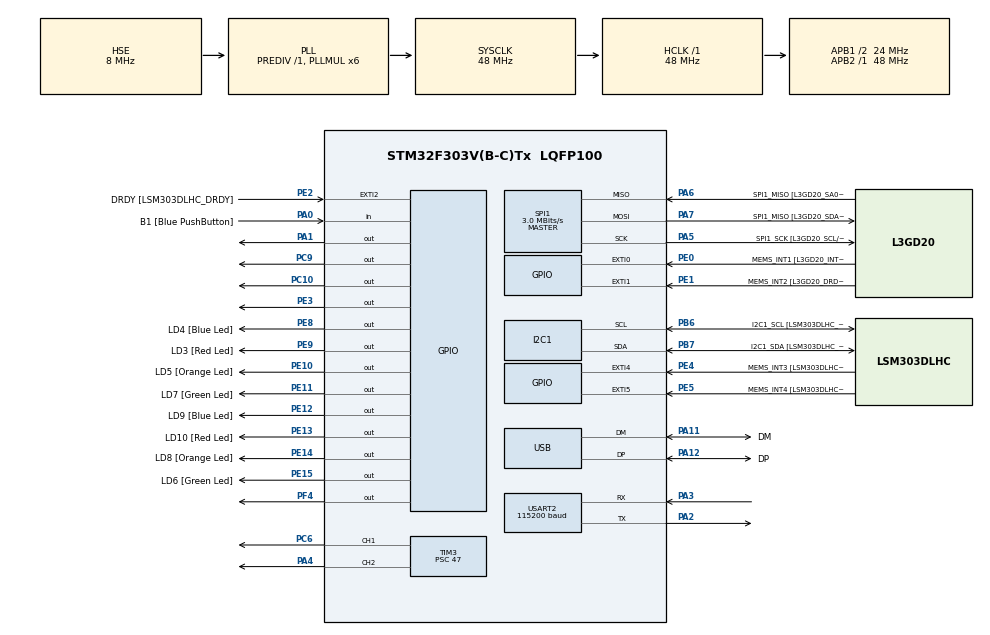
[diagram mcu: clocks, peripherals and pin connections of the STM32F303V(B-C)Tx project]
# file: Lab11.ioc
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I2C1.Timing=0x00201D2B
I2C1.Timing-I2C=0x2000090E
Mcu.Family=STM32F3
Mcu.Name=STM32F303V(B-C)Tx
Mcu.Package=LQFP100
NVIC.PriorityGroup=NVIC_PRIORITYGROUP_4
NVIC.TIM6_DAC_IRQn=true\:1\:0\:false\:false\:true\:true\:true\:true
NVIC.USART2_IRQn=true\:2\:0\:false\:false\:true\:true\:true\:true
PA0.GPIO_Label=B1 [Blue PushButton]
PA0.Signal=GPIO_Input
PA1.Signal=GPIO_Output
PA11.GPIO_Label=DM
PA11.Mode=Device
PA11.Signal=USB_DM
PA12.GPIO_Label=DP
PA12.Mode=Device
PA12.Signal=USB_DP
PA13.GPIO_Label=SWDIO
PA13.Mode=Serial_Wire
PA13.Signal=SYS_JTMS-SWDIO
PA14.GPIO_Label=SWCLK
PA14.Mode=Serial_Wire
PA14.Signal=SYS_JTCK-SWCLK
PA2.Mode=Asynchronous
PA2.Signal=USART2_TX
PA3.Mode=Asynchronous
PA3.Signal=USART2_RX
PA4.Signal=S_TIM3_CH2
PA5.GPIO_Label=SPI1_SCK [L3GD20_SCL/SPC]
PA5.Mode=Full_Duplex_Master
PA5.Signal=SPI1_SCK
PA6.GPIO_Label=SPI1_MISO [L3GD20_SA0/SDO]
PA6.Mode=Full_Duplex_Master
PA6.Signal=SPI1_MISO
PA7.GPIO_Label=SPI1_MISO [L3GD20_SDA/SDI/SDO]
PA7.Mode=Full_Duplex_Master
PA7.Signal=SPI1_MOSI
PB3.GPIO_Label=SWO
PB3.Signal=SYS_JTDO-TRACESWO
PB6.GPIO_Label=I2C1_SCL [LSM303DLHC_SCL]
PB6.GPIO_Pu=GPIO_PULLUP
PB6.Mode=I2C
PB6.Signal=I2C1_SCL
PB7.GPIO_Label=I2C1_SDA [LSM303DLHC_SDA]
PB7.GPIO_Pu=GPIO_PULLUP
PB7.Mode=I2C
PB7.Signal=I2C1_SDA
PC10.Signal=GPIO_Output
PC14-OSC32_IN.GPIO_Label=OSC32_IN
PC14-OSC32_IN.Signal=RCC_OSC32_IN
PC15-OSC32_OUT.GPIO_Label=OSC32_OUT
PC15-OSC32_OUT.Signal=RCC_OSC32_OUT
PC6.Signal=S_TIM3_CH1
PC9.Signal=GPIO_Output
PE0.GPIO_Label=MEMS_INT1 [L3GD20_INT1]
PE0.GPIO_ModeDefaultEXTI=GPIO_MODE_EVT_RISING
PE0.Signal=GPXTI0
PE1.GPIO_Label=MEMS_INT2 [L3GD20_DRDY/INT2]
PE1.GPIO_ModeDefaultEXTI=GPIO_MODE_EVT_RISING
PE1.Signal=GPXTI1
PE10.GPIO_Label=LD5 [Orange Led]
PE10.Signal=GPIO_Output
PE11.GPIO_Label=LD7 [Green Led]
PE11.Signal=GPIO_Output
PE12.GPIO_Label=LD9 [Blue Led]
PE12.Signal=GPIO_Output
PE13.GPIO_Label=LD10 [Red Led]
PE13.Signal=GPIO_Output
PE14.GPIO_Label=LD8 [Orange Led]
PE14.Signal=GPIO_Output
PE15.GPIO_Label=LD6 [Green Led]
PE15.Signal=GPIO_Output
PE2.GPIO_Label=DRDY [LSM303DLHC_DRDY]
PE2.GPIO_ModeDefaultEXTI=GPIO_MODE_EVT_RISING
PE2.Signal=GPXTI2
PE3.PinState=GPIO_PIN_SET
PE3.Signal=GPIO_Output
PE4.GPIO_Label=MEMS_INT3 [LSM303DLHC_INT1]
PE4.GPIO_ModeDefaultEXTI=GPIO_MODE_EVT_RISING
PE4.Signal=GPXTI4
PE5.GPIO_Label=MEMS_INT4 [LSM303DLHC_INT2]
PE5.GPIO_ModeDefaultEXTI=GPIO_MODE_EVT_RISING
PE5.Signal=GPXTI5
PE8.GPIO_Label=LD4 [Blue Led]
PE8.Signal=GPIO_Output
PE9.GPIO_Label=LD3 [Red Led]
PE9.Signal=GPIO_Output
PF0-OSC_IN.GPIO_Label=OSC_IN
PF0-OSC_IN.Mode=HSE-External-Clock-Source
PF0-OSC_IN.Signal=RCC_OSC_IN
PF1-OSC_OUT.GPIO_Label=OSC_OUT
PF1-OSC_OUT.Signal=RCC_OSC_OUT
PF4.Signal=GPIO_Output
ProjectManager.HeapSize=0x200
ProjectManager.StackSize=0x400
ProjectManager.TargetToolchain=CMake
RCC.AHBFreq_Value=48000000
RCC.APB1CLKDivider=RCC_HCLK_DIV2
RCC.APB1Freq_Value=24000000
RCC.APB1TimFreq_Value=48000000
RCC.APB2Freq_Value=48000000
RCC.APB2TimFreq_Value=48000000
RCC.CortexFreq_Value=48000000
RCC.HCLKFreq_Value=48000000
RCC.HSE_VALUE=8000000
RCC.HSI_VALUE=8000000
RCC.LSE_VALUE=32768
RCC.PLLMUL=RCC_PLL_MUL6
RCC.SYSCLKFreq_VALUE=48000000
RCC.SYSCLKSourceVirtual=RCC_SYSCLKSOURCE_PLLCLK
RCC.USBFreq_Value=48000000
SH.S_TIM3_CH1.0=TIM3_CH1,PWM Generation1 CH1
SH.S_TIM3_CH2.0=TIM3_CH2,PWM Generation2 CH2
SPI1.BaudRatePrescaler=SPI_BAUDRATEPRESCALER_16
SPI1.BaudRatePrescaler-Full_Duplex_Master=SPI_BAUDRATEPRESCALER_2
SPI1.CLKPhase=SPI_PHASE_2EDGE
SPI1.CLKPolarity=SPI_POLARITY_HIGH
SPI1.CalculateBaudRate=3.0 MBits/s
SPI1.CalculateBaudRate-Full_Duplex_Master=24.0 MBits/s
SPI1.DataSize=SPI_DATASIZE_8BIT
SPI1.Direction=SPI_DIRECTION_2LINES
SPI1.Mode=SPI_MODE_MASTER
SPI1.Mode-Full_Duplex_Master=SPI_MODE_MASTER
SPI1.VirtualType=VM_MASTER
TIM3.Channel-PWM\ Generation1\ CH1=TIM_CHANNEL_1
TIM3.Channel-PWM\ Generation2\ CH2=TIM_CHANNEL_2
TIM3.Period=999
TIM3.Prescaler=47
TIM6.Period=4999
TIM6.Prescaler=47
USART2.BaudRate=115200
USART2.VirtualMode-Asynchronous=VM_ASYNC
VP_TIM6_VS_ClockSourceINT.Mode=Enable_Timer
board=STM32F3DISCOVERY

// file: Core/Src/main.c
/* USER CODE BEGIN Header */
/**
  ******************************************************************************
  * @file           : main.c
  * @brief          : Main program body
  ******************************************************************************
  * @attention
  *
  * Copyright (c) 2026 STMicroelectronics.
  * All rights reserved.
  *
  * This software is licensed under terms that can be found in the LICENSE file
  * in the root directory of this software component.
  * If no LICENSE file comes with this software, it is provided AS-IS.
  *
  ******************************************************************************
  */
/* USER CODE END Header */
#include "main.h"

/* USER CODE BEGIN Includes */
#include <stdio.h>
#include "app_config.h"
#include "imu.h"
#include "motor.h"
#include "control.h"
#include "telemetry.h"

/* USER CODE END Includes */

I2C_HandleTypeDef hi2c1;

SPI_HandleTypeDef hspi1;

TIM_HandleTypeDef htim3;
TIM_HandleTypeDef htim6;

UART_HandleTypeDef huart2;

PCD_HandleTypeDef hpcd_USB_FS;

void SystemClock_Config(void);
static void MX_GPIO_Init(void);
static void MX_I2C1_Init(void);
static void MX_SPI1_Init(void);
static void MX_USB_PCD_Init(void);
static void MX_USART2_UART_Init(void);
static void MX_TIM3_Init(void);
static void MX_TIM6_Init(void);
/* USER CODE BEGIN PFP */
static void Button_Poll(void);

/* USER CODE END PFP */

int main(void)
{

  /* MCU Configuration--------------------------------------------------------*/

  /* Reset of all peripherals, Initializes the Flash interface and the Systick. */
  HAL_Init();

  /* Configure the system clock */
  SystemClock_Config();

  /* Initialize all configured peripherals */
  MX_GPIO_Init();
  MX_I2C1_Init();
  MX_SPI1_Init();
  MX_USB_PCD_Init();
  MX_USART2_UART_Init();
  MX_TIM3_Init();
  MX_TIM6_Init();
  /* USER CODE BEGIN 2 */
  char msg[96];
  Motor_Init(&htim3);                       /* PWM running, both motors stopped */
  Telemetry_Init(&huart2);
  Telemetry_Print("\r\n# Lab 11: balance controller booting\r\n");

  HAL_Delay(300);
  if (IMU_Init(&hi2c1, &hspi1) != HAL_OK)
    Telemetry_Print("# IMU init FAILED - check the board\r\n");
  snprintf(msg, sizeof msg, "# gyro WHO_AM_I = 0x%02X (D4 = L3GD20, D3 = I3G4250D)\r\n",
           IMU_GyroWhoAmI());
  Telemetry_Print(msg);

  Telemetry_Print("# calibrating gyro - keep the robot STILL...\r\n");
  HAL_GPIO_WritePin(GPIOE, LD4_Pin, GPIO_PIN_SET);
  IMU_CalibrateGyro(GYRO_CAL_SAMPLES);
  HAL_GPIO_WritePin(GPIOE, LD4_Pin, GPIO_PIN_RESET);

  Control_Init();
  HAL_TIM_Base_Start_IT(&htim6);            /* 200 Hz control loop starts here */
  Telemetry_Print("# ready: press the blue button (or send 'e') to arm, '?' for parameters\r\n");

  /* USER CODE END 2 */

  /* Infinite loop */
  while (1)
  {

    /* USER CODE BEGIN 3 */
    Button_Poll();                          /* arm / disarm                      */
    Telemetry_Process();                    /* UART commands + 20 Hz telemetry   */
  }
  /* USER CODE END 3 */
}

void SystemClock_Config(void)
{
  RCC_OscInitTypeDef RCC_OscInitStruct = {0};
  RCC_ClkInitTypeDef RCC_ClkInitStruct = {0};
  RCC_PeriphCLKInitTypeDef PeriphClkInit = {0};

  /** Initializes the RCC Oscillators according to the specified parameters
  * in the RCC_OscInitTypeDef structure.
  */
  RCC_OscInitStruct.OscillatorType = RCC_OSCILLATORTYPE_HSI|RCC_OSCILLATORTYPE_HSE;
  RCC_OscInitStruct.HSEState = RCC_HSE_BYPASS;
  RCC_OscInitStruct.HSEPredivValue = RCC_HSE_PREDIV_DIV1;
  RCC_OscInitStruct.HSIState = RCC_HSI_ON;
  RCC_OscInitStruct.HSICalibrationValue = RCC_HSICALIBRATION_DEFAULT;
  RCC_OscInitStruct.PLL.PLLState = RCC_PLL_ON;
  RCC_OscInitStruct.PLL.PLLSource = RCC_PLLSOURCE_HSE;
  RCC_OscInitStruct.PLL.PLLMUL = RCC_PLL_MUL6;
  if (HAL_RCC_OscConfig(&RCC_OscInitStruct) != HAL_OK)
  {
    Error_Handler();
  }

  /** Initializes the CPU, AHB and APB buses clocks
  */
  RCC_ClkInitStruct.ClockType = RCC_CLOCKTYPE_HCLK|RCC_CLOCKTYPE_SYSCLK
                              |RCC_CLOCKTYPE_PCLK1|RCC_CLOCKTYPE_PCLK2;
  RCC_ClkInitStruct.SYSCLKSource = RCC_SYSCLKSOURCE_PLLCLK;
  RCC_ClkInitStruct.AHBCLKDivider = RCC_SYSCLK_DIV1;
  RCC_ClkInitStruct.APB1CLKDivider = RCC_HCLK_DIV2;
  RCC_ClkInitStruct.APB2CLKDivider = RCC_HCLK_DIV1;

  if (HAL_RCC_ClockConfig(&RCC_ClkInitStruct, FLASH_LATENCY_1) != HAL_OK)
  {
    Error_Handler();
  }
  PeriphClkInit.PeriphClockSelection = RCC_PERIPHCLK_USB|RCC_PERIPHCLK_USART2
                              |RCC_PERIPHCLK_I2C1;
  PeriphClkInit.Usart2ClockSelection = RCC_USART2CLKSOURCE_PCLK1;
  PeriphClkInit.I2c1ClockSelection = RCC_I2C1CLKSOURCE_HSI;
  PeriphClkInit.USBClockSelection = RCC_USBCLKSOURCE_PLL;
  if (HAL_RCCEx_PeriphCLKConfig(&PeriphClkInit) != HAL_OK)
  {
    Error_Handler();
  }
}

static void MX_I2C1_Init(void)
{

  hi2c1.Instance = I2C1;
  hi2c1.Init.Timing = 0x00201D2B;
  hi2c1.Init.OwnAddress1 = 0;
  hi2c1.Init.AddressingMode = I2C_ADDRESSINGMODE_7BIT;
  hi2c1.Init.DualAddressMode = I2C_DUALADDRESS_DISABLE;
  hi2c1.Init.OwnAddress2 = 0;
  hi2c1.Init.OwnAddress2Masks = I2C_OA2_NOMASK;
  hi2c1.Init.GeneralCallMode = I2C_GENERALCALL_DISABLE;
  hi2c1.Init.NoStretchMode = I2C_NOSTRETCH_DISABLE;
  if (HAL_I2C_Init(&hi2c1) != HAL_OK)
  {
    Error_Handler();
  }

  /** Configure Analogue filter
  */
  if (HAL_I2CEx_ConfigAnalogFilter(&hi2c1, I2C_ANALOGFILTER_ENABLE) != HAL_OK)
  {
    Error_Handler();
  }

  /** Configure Digital filter
  */
  if (HAL_I2CEx_ConfigDigitalFilter(&hi2c1, 0) != HAL_OK)
  {
    Error_Handler();
  }

}

static void MX_SPI1_Init(void)
{

  /* SPI1 parameter configuration*/
  hspi1.Instance = SPI1;
  hspi1.Init.Mode = SPI_MODE_MASTER;
  hspi1.Init.Direction = SPI_DIRECTION_2LINES;
  hspi1.Init.DataSize = SPI_DATASIZE_8BIT;
  hspi1.Init.CLKPolarity = SPI_POLARITY_HIGH;
  hspi1.Init.CLKPhase = SPI_PHASE_2EDGE;
  hspi1.Init.NSS = SPI_NSS_SOFT;
  hspi1.Init.BaudRatePrescaler = SPI_BAUDRATEPRESCALER_16;
  hspi1.Init.FirstBit = SPI_FIRSTBIT_MSB;
  hspi1.Init.TIMode = SPI_TIMODE_DISABLE;
  hspi1.Init.CRCCalculation = SPI_CRCCALCULATION_DISABLE;
  hspi1.Init.CRCPolynomial = 7;
  hspi1.Init.CRCLength = SPI_CRC_LENGTH_DATASIZE;
  hspi1.Init.NSSPMode = SPI_NSS_PULSE_DISABLE;
  if (HAL_SPI_Init(&hspi1) != HAL_OK)
  {
    Error_Handler();
  }

}

static void MX_TIM3_Init(void)
{

  TIM_MasterConfigTypeDef sMasterConfig = {0};
  TIM_OC_InitTypeDef sConfigOC = {0};

  htim3.Instance = TIM3;
  htim3.Init.Prescaler = 47;
  htim3.Init.CounterMode = TIM_COUNTERMODE_UP;
  htim3.Init.Period = 999;
  htim3.Init.ClockDivision = TIM_CLOCKDIVISION_DIV1;
  htim3.Init.AutoReloadPreload = TIM_AUTORELOAD_PRELOAD_DISABLE;
  if (HAL_TIM_PWM_Init(&htim3) != HAL_OK)
  {
    Error_Handler();
  }
  sMasterConfig.MasterOutputTrigger = TIM_TRGO_RESET;
  sMasterConfig.MasterSlaveMode = TIM_MASTERSLAVEMODE_DISABLE;
  if (HAL_TIMEx_MasterConfigSynchronization(&htim3, &sMasterConfig) != HAL_OK)
  {
    Error_Handler();
  }
  sConfigOC.OCMode = TIM_OCMODE_PWM1;
  sConfigOC.Pulse = 0;
  sConfigOC.OCPolarity = TIM_OCPOLARITY_HIGH;
  sConfigOC.OCFastMode = TIM_OCFAST_DISABLE;
  if (HAL_TIM_PWM_ConfigChannel(&htim3, &sConfigOC, TIM_CHANNEL_1) != HAL_OK)
  {
    Error_Handler();
  }
  if (HAL_TIM_PWM_ConfigChannel(&htim3, &sConfigOC, TIM_CHANNEL_2) != HAL_OK)
  {
    Error_Handler();
  }
  HAL_TIM_MspPostInit(&htim3);

}

static void MX_TIM6_Init(void)
{

  TIM_MasterConfigTypeDef sMasterConfig = {0};

  htim6.Instance = TIM6;
  htim6.Init.Prescaler = 47;
  htim6.Init.CounterMode = TIM_COUNTERMODE_UP;
  htim6.Init.Period = 4999;
  htim6.Init.AutoReloadPreload = TIM_AUTORELOAD_PRELOAD_DISABLE;
  if (HAL_TIM_Base_Init(&htim6) != HAL_OK)
  {
    Error_Handler();
  }
  sMasterConfig.MasterOutputTrigger = TIM_TRGO_RESET;
  sMasterConfig.MasterSlaveMode = TIM_MASTERSLAVEMODE_DISABLE;
  if (HAL_TIMEx_MasterConfigSynchronization(&htim6, &sMasterConfig) != HAL_OK)
  {
    Error_Handler();
  }

}

static void MX_USART2_UART_Init(void)
{

  huart2.Instance = USART2;
  huart2.Init.BaudRate = 115200;
  huart2.Init.WordLength = UART_WORDLENGTH_8B;
  huart2.Init.StopBits = UART_STOPBITS_1;
  huart2.Init.Parity = UART_PARITY_NONE;
  huart2.Init.Mode = UART_MODE_TX_RX;
  huart2.Init.HwFlowCtl = UART_HWCONTROL_NONE;
  huart2.Init.OverSampling = UART_OVERSAMPLING_16;
  huart2.Init.OneBitSampling = UART_ONE_BIT_SAMPLE_DISABLE;
  huart2.AdvancedInit.AdvFeatureInit = UART_ADVFEATURE_NO_INIT;
  if (HAL_UART_Init(&huart2) != HAL_OK)
  {
    Error_Handler();
  }

}

static void MX_USB_PCD_Init(void)
{

  hpcd_USB_FS.Instance = USB;
  hpcd_USB_FS.Init.dev_endpoints = 8;
  hpcd_USB_FS.Init.speed = PCD_SPEED_FULL;
  hpcd_USB_FS.Init.phy_itface = PCD_PHY_EMBEDDED;
  hpcd_USB_FS.Init.low_power_enable = DISABLE;
  hpcd_USB_FS.Init.battery_charging_enable = DISABLE;
  if (HAL_PCD_Init(&hpcd_USB_FS) != HAL_OK)
  {
    Error_Handler();
  }

}

static void MX_GPIO_Init(void)
{
  GPIO_InitTypeDef GPIO_InitStruct = {0};

  /* GPIO Ports Clock Enable */
  __HAL_RCC_GPIOE_CLK_ENABLE();
  __HAL_RCC_GPIOC_CLK_ENABLE();
  __HAL_RCC_GPIOF_CLK_ENABLE();
  __HAL_RCC_GPIOA_CLK_ENABLE();
  __HAL_RCC_GPIOB_CLK_ENABLE();

  /*Configure GPIO pin Output Level */
  HAL_GPIO_WritePin(GPIOE, GPIO_PIN_3, GPIO_PIN_SET);

  /*Configure GPIO pin Output Level */
  HAL_GPIO_WritePin(GPIOA, GPIO_PIN_1, GPIO_PIN_RESET);

  /*Configure GPIO pin Output Level */
  HAL_GPIO_WritePin(GPIOF, GPIO_PIN_4, GPIO_PIN_RESET);

  /*Configure GPIO pin Output Level */
  HAL_GPIO_WritePin(GPIOE, LD4_Pin|LD3_Pin|LD5_Pin|LD7_Pin
                          |LD9_Pin|LD10_Pin|LD8_Pin|LD6_Pin, GPIO_PIN_RESET);

  /*Configure GPIO pin Output Level */
  HAL_GPIO_WritePin(GPIOC, GPIO_PIN_9|GPIO_PIN_10, GPIO_PIN_RESET);

  /*Configure GPIO pins : DRDY_Pin MEMS_INT3_Pin MEMS_INT4_Pin MEMS_INT1_Pin
                           MEMS_INT2_Pin */
  GPIO_InitStruct.Pin = DRDY_Pin|MEMS_INT3_Pin|MEMS_INT4_Pin|MEMS_INT1_Pin
                          |MEMS_INT2_Pin;
  GPIO_InitStruct.Mode = GPIO_MODE_EVT_RISING;
  GPIO_InitStruct.Pull = GPIO_NOPULL;
  HAL_GPIO_Init(GPIOE, &GPIO_InitStruct);

  /*Configure GPIO pins : PE3 LD4_Pin LD3_Pin LD5_Pin
                           LD7_Pin LD9_Pin LD10_Pin LD8_Pin
                           LD6_Pin */
  GPIO_InitStruct.Pin = GPIO_PIN_3|LD4_Pin|LD3_Pin|LD5_Pin
                          |LD7_Pin|LD9_Pin|LD10_Pin|LD8_Pin
                          |LD6_Pin;
  GPIO_InitStruct.Mode = GPIO_MODE_OUTPUT_PP;
  GPIO_InitStruct.Pull = GPIO_NOPULL;
  GPIO_InitStruct.Speed = GPIO_SPEED_FREQ_LOW;
  HAL_GPIO_Init(GPIOE, &GPIO_InitStruct);

  /*Configure GPIO pin : B1_Pin */
  GPIO_InitStruct.Pin = B1_Pin;
  GPIO_InitStruct.Mode = GPIO_MODE_INPUT;
  GPIO_InitStruct.Pull = GPIO_NOPULL;
  HAL_GPIO_Init(B1_GPIO_Port, &GPIO_InitStruct);

  /*Configure GPIO pin : PA1 */
  GPIO_InitStruct.Pin = GPIO_PIN_1;
  GPIO_InitStruct.Mode = GPIO_MODE_OUTPUT_PP;
  GPIO_InitStruct.Pull = GPIO_NOPULL;
  GPIO_InitStruct.Speed = GPIO_SPEED_FREQ_LOW;
  HAL_GPIO_Init(GPIOA, &GPIO_InitStruct);

  /*Configure GPIO pin : PF4 */
  GPIO_InitStruct.Pin = GPIO_PIN_4;
  GPIO_InitStruct.Mode = GPIO_MODE_OUTPUT_PP;
  GPIO_InitStruct.Pull = GPIO_NOPULL;
  GPIO_InitStruct.Speed = GPIO_SPEED_FREQ_LOW;
  HAL_GPIO_Init(GPIOF, &GPIO_InitStruct);

  /*Configure GPIO pins : PC9 PC10 */
  GPIO_InitStruct.Pin = GPIO_PIN_9|GPIO_PIN_10;
  GPIO_InitStruct.Mode = GPIO_MODE_OUTPUT_PP;
  GPIO_InitStruct.Pull = GPIO_NOPULL;
  GPIO_InitStruct.Speed = GPIO_SPEED_FREQ_LOW;
  HAL_GPIO_Init(GPIOC, &GPIO_InitStruct);

}

/* USER CODE BEGIN 4 */
/**
  * @brief TIM6 update interrupt: the fixed-rate (CONTROL_HZ) control loop.
  */
void HAL_TIM_PeriodElapsedCallback(TIM_HandleTypeDef *htim)
{
  if (htim->Instance == TIM6) Control_Step();
}

/**
  * @brief UART receive complete: one command character arrived.
  */
void HAL_UART_RxCpltCallback(UART_HandleTypeDef *huart)
{
  Telemetry_RxCallback(huart);
}

/**
  * @brief Blue user button (PA0) toggles the motors, debounced without blocking.
  */
static void Button_Poll(void)
{
  static uint8_t  prev = 0;
  static uint32_t last_ms = 0;
  uint8_t now = (uint8_t)HAL_GPIO_ReadPin(B1_GPIO_Port, B1_Pin);

  if (now && !prev && (HAL_GetTick() - last_ms) > 250) {
    last_ms = HAL_GetTick();
    Control_ToggleArm();
  }
  prev = now;
}

/* USER CODE END 4 */

void Error_Handler(void)
{
  __disable_irq();
  while (1)
  {
  }
}
